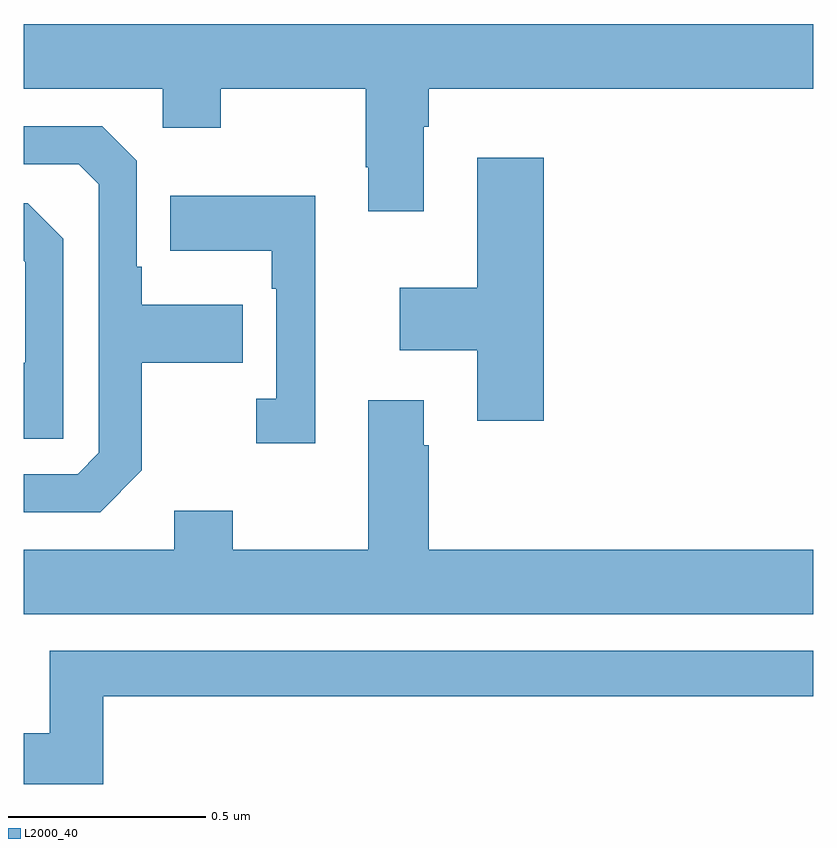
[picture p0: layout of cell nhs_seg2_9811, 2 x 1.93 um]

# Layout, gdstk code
import gdstk
lib = gdstk.Library(unit=1e-6, precision=1e-09)
def P(c, l, *ps):  # polygons
    for p in ps: c.add(gdstk.Polygon(p, *l))
L2000_40 = (2000, 40)

nhs_seg2_9811 = lib.new_cell('nhs_seg2_9811')
P(nhs_seg2_9811, L2000_40, [(234.013,659.528),(234.026,659.528),(234.026,659.624),(235,659.624),(235,659.788),(233,659.788),(233,659.624),(233.352,659.624),(233.352,659.525),(233.499,659.525),(233.499,659.624),(233.866,659.624),(233.866,659.425),(233.873,659.425),(233.873,659.313),(234.013,659.313)],
  [(233.299,658.657),(233.299,658.93),(233.555,658.93),(233.555,659.077),(233.299,659.077),(233.299,659.173),(233.286,659.173),(233.286,659.442),(233.199,659.529),(233,659.529),(233,659.433),(233.139,659.433),(233.19,659.382),(233.19,658.701),(233.136,658.647),(233,658.647),(233,658.551),(233.193,658.551)],
  [(234.317,659.449),(234.149,659.449),(234.149,659.119),(233.952,659.119),(233.952,658.961),(234.149,658.961),(234.149,658.782),(234.317,658.782)],
  [(233.738,659.353),(233.371,659.353),(233.371,659.213),(233.628,659.213),(233.628,659.117),(233.64,659.117),(233.64,658.838),(233.589,658.838),(233.589,658.725),(233.738,658.725)],
  [(233.1,659.244),(233.01,659.334),(233,659.334),(233,659.188),(233.004,659.184),(233.004,658.93),(233,658.93),(233,658.737),(233.1,658.737)],
  [(235,658.456),(234.026,658.456),(234.026,658.721),(234.013,658.721),(234.013,658.834),(233.873,658.834),(233.873,658.456),(233.529,658.456),(233.529,658.555),(233.381,658.555),(233.381,658.456),(233,658.456),(233,658.292),(235,658.292)],
  [(233.201,658.084),(235,658.084),(235,658.2),(233.065,658.2),(233.065,657.991),(233,657.991),(233,657.862),(233.201,657.862)])

lib.write_gds('nhs_seg2_9811.gds')
